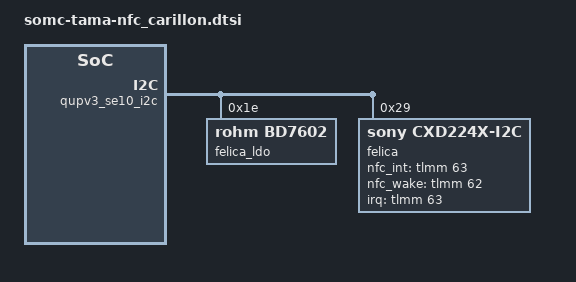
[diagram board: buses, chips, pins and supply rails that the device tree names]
/* arch/arm64/boot/dts/somc/somc-tama-nfc_carillon.dtsi
 *
 * This program is free software; you can redistribute it and/or modify
 * it under the terms of the GNU General Public License version 2 and
 * only version 2 as published by the Free Software Foundation.
 *
 * This program is distributed in the hope that it will be useful,
 * but WITHOUT ANY WARRANTY; without even the implied warranty of
 * MERCHANTABILITY or FITNESS FOR A PARTICULAR PURPOSE.  See the
 * GNU General Public License for more details.
 */
/*
 * Copyright (C) 2017 Sony Mobile Communications Inc.
 *
 * This program is free software; you can redistribute it and/or modify
 * it under the terms of the GNU General Public License version 2, as
 * published by the Free Software Foundation.
 */

&qupv3_se10_i2c {
	felica_ldo@1e {
		compatible = "rohm,bd7602";
		reg = <0x1e>;
	};
	felica@29 {
		compatible = "sony,cxd224x-i2c";
		reg = <0x29>;
		interrupt-parent = <&tlmm>;
		interrupts = <63 0x2002>;
		sony,nfc_int = <&tlmm 63 0>;
		sony,nfc_wake = <&tlmm 62 0>;

		pinctrl-names = "felica_active","felica_suspend";
		pinctrl-0 = <&sdm_gpio_63>;
		pinctrl-1 = <&sdm_gpio_63>;
	};
};

&soc {
	felica,pm-ops {
		compatible = "sony,cxd224x-pm-ops";
	};
};
